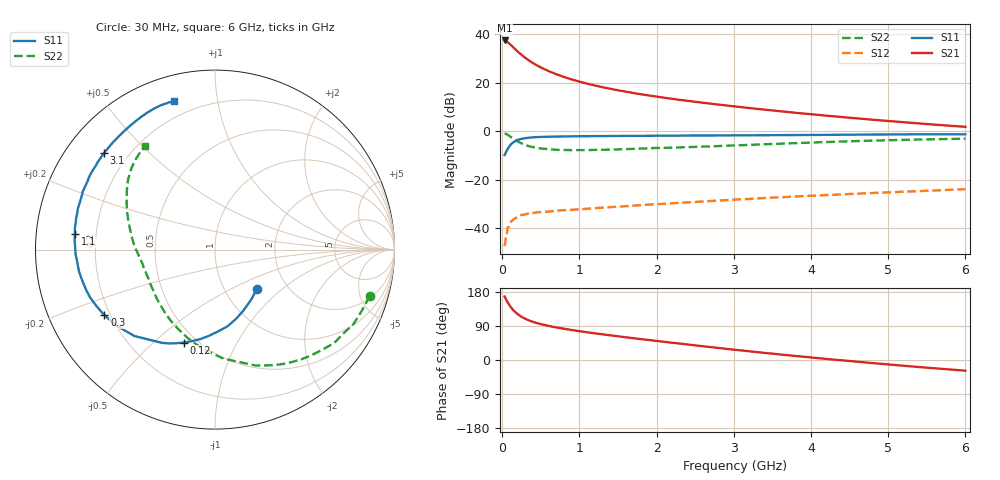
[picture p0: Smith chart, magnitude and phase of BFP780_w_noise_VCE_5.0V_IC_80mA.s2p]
! Infineon Technologies  Discrete & RF Semiconductors
! BFP780
! VCE =  5.0 V,  IC =  80 mA
! Common Emitter S-Parameters:  Jul 2015
# GHz  S  MA  R  50
!  f  S11  S21  S12  S22
! GHz  MAG  ANG  MAG  ANG  MAG  ANG  MAG  ANG
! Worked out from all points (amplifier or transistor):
!   75 points, 30 MHz to 6 GHz, reference 50 ohm
!   highest |S21| = 37.5 dB at 30 MHz (marker M1)
!   |S21| within 3 dB of that: start of sweep to 147.1 MHz
!   unconditionally stable (mu >= 1): 1.716 GHz to end of sweep
!   at 150 MHz: K = 0.21, MSG = 35.4 dB, |S12| = -36.4 dB
!   at 2.3 GHz: K = 1.13, MAG = 19.1 dB, |S12| = -29.6 dB
!   at 6 GHz: K = 1.19, MAG = 10.3 dB, |S12| = -24.0 dB
!   lowest NFmin = 1.80 dB at 450 MHz
!   S11 on the Smith chart (normalised r, x): 30 MHz: 1.42, -0.69; 120 MHz: 0.42, -0.63; 300 MHz: 0.18, -0.27; 1.1 GHz: 0.12, +0.05; 3.1 GHz: 0.11, +0.37; 6 GHz: 0.12, +0.75
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0.03  0.3198 -42.8  74.66 167.6  0.0042 67.8  0.9002 -16.8
0.05  0.3748 -65.0  71.98 159.4  0.0075 45.6  0.8759 -28.3
0.07  0.4322 -80.5  68.49 152.1  0.0102 66.0  0.8436 -38.1
0.09  0.4806 -93.8  64.41 145.5  0.011 52.7  0.7977 -47.4
0.11  0.5269 -104.3  60.2 139.6  0.0131 51.2  0.7568 -56.1
0.12  0.547 -108.7  58.17 137.0  0.014 48.2  0.738 -59.9
0.15  0.5983 -119.8  52.33 130.0  0.0152 45.7  0.684 -70.7
0.2  0.6583 -133.0  44.02 120.9  0.017 37.7  0.6094 -85.5
0.25  0.6934 -142.3  37.59 113.9  0.0185 34.7  0.5572 -97.2
0.3  0.7166 -149.3  32.48 108.5  0.0191 32.2  0.5162 -107.0
0.35  0.7326 -154.8  28.51 104.1  0.0201 29.5  0.487 -115.1
0.4  0.7451 -159.0  25.34 100.5  0.0204 26.7  0.4669 -121.8
0.5  0.7572 -165.6  20.66 94.7  0.0213 26.0  0.4382 -132.3
0.6  0.7672 -170.7  17.38 89.9  0.0217 25.4  0.4228 -140.5
0.8  0.7773 -178.1  13.14 82.4  0.0233 25.5  0.4081 -152.1
1.1  0.7848 173.7  9.556 73.1  0.0249 26.6  0.4055 -163.5
1.5  0.7935 165.4  6.976 62.6  0.0275 28.0  0.4193 -173.2
2.1  0.8047 154.8  4.888 47.9  0.0315 29.6  0.451 176.8
3.1  0.8193 139.0  3.124 25.2  0.0391 29.1  0.5129 160.7
4.1  0.8355 125.0  2.158 4.7  0.047 26.3  0.5875 146.8
5.1  0.8557 113.7  1.574 -13.5  0.055 21.2  0.6542 134.7
6  0.8592 105.6  1.226 -28.2  0.0631 15.8  0.698 123.9
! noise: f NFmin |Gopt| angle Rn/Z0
0.45  1.8  0.49  -179  0.07
0.9  1.86  0.51  -168  0.08
1.5  1.9  0.53  -160  0.1
1.8  2.09  0.54  -153  0.11
2.4  2.21  0.55  -145  0.16
3  2.48  0.57  -136  0.23
3.5  2.95  0.6  -123  0.36
